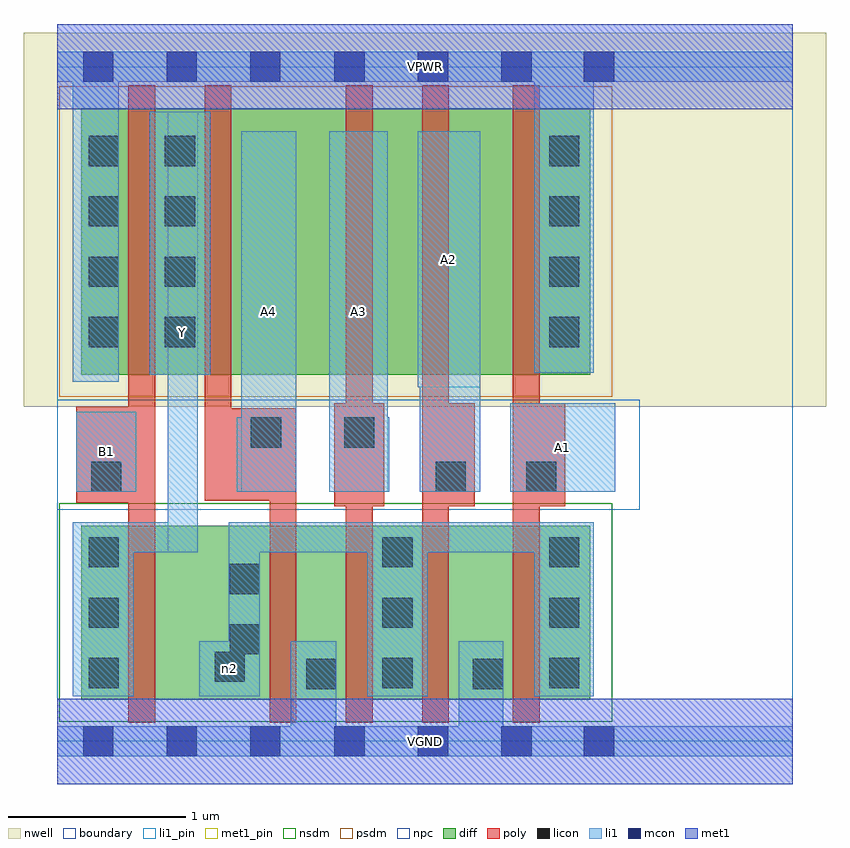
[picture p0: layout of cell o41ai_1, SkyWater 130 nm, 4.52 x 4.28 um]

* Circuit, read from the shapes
.subckt o41ai_1 A1 A2 A3 A4 B1 VGND VPWR Y n2
XM1 n2 B1 Y VSUBS sky130_fd_pr__nfet_01v8 w=0.98 l=0.15
XM2 VGND A4 n2 VSUBS sky130_fd_pr__nfet_01v8 w=0.98 l=0.15
XM3 n2 A3 VGND VSUBS sky130_fd_pr__nfet_01v8 w=0.98 l=0.15
XM4 VGND A2 n2 VSUBS sky130_fd_pr__nfet_01v8 w=0.98 l=0.15
XM5 n2 A1 VGND VSUBS sky130_fd_pr__nfet_01v8 w=0.98 l=0.15
XM6 Y B1 VPWR n1 sky130_fd_pr__pfet_01v8 w=1.5 l=0.15
XM7 n3 A4 Y n1 sky130_fd_pr__pfet_01v8 w=1.5 l=0.15
XM8 n4 A3 n3 n1 sky130_fd_pr__pfet_01v8 w=1.5 l=0.15
XM9 n5 A2 n4 n1 sky130_fd_pr__pfet_01v8 w=1.5 l=0.15
XM10 VPWR A1 n5 n1 sky130_fd_pr__pfet_01v8 w=1.5 l=0.15
.ends

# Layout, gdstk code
import gdstk
lib = gdstk.Library(unit=1e-6, precision=1e-09)
def R(c, l, rs):  # rectangles x0, y0, x1, y1
    for r in rs: c.add(gdstk.rectangle(r[:2], r[2:], *l))
def A(c, l, x, y, w, h, nx, ny, dx, dy):  # array of equal rectangles
    R(c, l, [(x+i*dx, y+j*dy, x+i*dx+w, y+j*dy+h) for i in range(nx) for j in range(ny)])
nwell = (64, 20)
diff = (65, 20)
poly = (66, 20)
licon = (66, 44)
li1_pin = (67, 16)
li1 = (67, 20)
mcon = (67, 44)
met1_pin = (68, 16)
met1 = (68, 20)
nsdm = (93, 44)
psdm = (94, 20)
npc = (95, 20)
boundary = (235, 4)

o41ai_1 = lib.new_cell('o41ai_1')
R(o41ai_1, nwell, [(-0.19,1.885,4.33,3.99), (0,1.885,4.14,3.99)])
R(o41ai_1, diff, [(0.135,0.235,3,1.215), (0.135,2.065,3,3.565)])
R(o41ai_1, poly, [(0.4,0.105,0.55,3.695), (1.195,0.105,1.345,1.875), (1.625,0.105,1.775,3.695), (2.055,0.105,2.205,3.695), (2.565,0.105,2.715,3.695), (1.56,1.325,1.84,1.905), (2.055,1.325,2.35,1.905), (2.565,1.325,2.86,1.905), (0.105,1.345,0.55,1.885), (0.83,1.355,0.98,3.695), (0.83,1.355,1.345,1.875)])
A(o41ai_1, licon, 0.175, 0.3, 0.17, 0.17, 1, 3, 0, 0.34)
A(o41ai_1, licon, 1.83, 0.3, 0.17, 0.17, 1, 3, 0, 0.34)
A(o41ai_1, licon, 2.77, 0.3, 0.17, 0.17, 1, 3, 0, 0.34)
A(o41ai_1, licon, 0.175, 2.22, 0.17, 0.17, 1, 4, 0, 0.34)
A(o41ai_1, licon, 0.605, 2.22, 0.17, 0.17, 1, 4, 0, 0.34)
A(o41ai_1, licon, 2.77, 2.22, 0.17, 0.17, 1, 4, 0, 0.34)
R(o41ai_1, licon, [(1.4,0.295,1.57,0.465), (2.34,0.295,2.51,0.465), (0.885,0.335,1.055,0.505), (0.97,0.49,1.14,0.66), (0.97,0.83,1.14,1), (0.19,1.405,0.36,1.575), (2.13,1.405,2.3,1.575), (2.64,1.405,2.81,1.575), (1.09,1.655,1.26,1.825), (1.615,1.655,1.785,1.825)])
R(o41ai_1, li1_pin, [(0.62,1.065,0.79,3.545), (0.105,1.405,0.445,1.855), (1.035,1.405,1.345,3.435), (1.53,1.405,1.86,3.435), (2.55,1.405,3.14,1.905), (2.03,1.995,2.38,3.435)])
R(o41ai_1, li1, [(0,-0.085,4.14,0.085), (1.315,-0.085,1.57,0.565), (2.26,-0.085,2.51,0.565), (0.085,0.255,0.43,1.235), (0.8,0.255,1.14,0.565), (0.965,0.255,1.14,1.235), (1.745,0.255,2.085,1.235), (2.685,0.255,3.02,1.235), (0.085,1.065,0.79,1.235), (0.62,1.065,0.79,3.545), (0.965,1.065,3.02,1.235), (0.105,1.405,0.445,1.855), (1.01,1.405,1.345,1.825), (1.035,1.405,1.345,3.435), (1.53,1.405,1.86,3.435), (1.53,1.405,1.87,1.825), (2.04,1.405,2.38,3.435), (2.55,1.405,3.14,1.905), (2.03,1.995,2.38,3.435), (0.085,2.025,0.345,3.885), (0.52,2.065,0.86,3.545), (2.685,2.075,3.02,3.885), (0,3.715,4.14,3.885)])
A(o41ai_1, mcon, 0.145, -0.085, 0.17, 0.17, 3, 2, 0.47, 3.8)
A(o41ai_1, mcon, 1.56, -0.085, 0.17, 0.17, 3, 2, 0.47, 3.8)
R(o41ai_1, mcon, [(2.965,-0.085,3.135,0.085), (2.965,3.715,3.135,3.885)])
R(o41ai_1, met1_pin, [(0,-0.24,4.14,0.24), (0,3.56,4.14,4.04)])
R(o41ai_1, met1, [(0,-0.24,4.14,0.24), (0,3.56,4.14,4.04)])
R(o41ai_1, nsdm, [(0.01,0.11,3.125,1.34)])
R(o41ai_1, psdm, [(0.01,1.94,3.125,3.69)])
R(o41ai_1, npc, [(0,1.305,3.28,1.925)])
R(o41ai_1, boundary, [(0,0,4.14,3.8)])
o41ai_1.add(gdstk.Label('A1', (2.845,1.655), layer=67, texttype=5))
o41ai_1.add(gdstk.Label('A2', (2.205,2.715), layer=67, texttype=5))
o41ai_1.add(gdstk.Label('A3', (1.695,2.42), layer=67, texttype=5))
o41ai_1.add(gdstk.Label('A4', (1.19,2.42), layer=67, texttype=5))
o41ai_1.add(gdstk.Label('B1', (0.275,1.63), layer=67, texttype=5))
o41ai_1.add(gdstk.Label('Y', (0.705,2.305), layer=67, texttype=5))
o41ai_1.add(gdstk.Label('n2', (0.97,0.41), layer=67, texttype=5))
o41ai_1.add(gdstk.Label('VPWR', (2.07,3.8), layer=68, texttype=5))
o41ai_1.add(gdstk.Label('VGND', (2.07,0), layer=68, texttype=5))
o41ai_1.add(gdstk.Label('A1', (2.845,1.655), layer=67, texttype=16))
o41ai_1.add(gdstk.Label('A2', (2.205,2.715), layer=67, texttype=16))
o41ai_1.add(gdstk.Label('A3', (1.695,2.42), layer=67, texttype=16))
o41ai_1.add(gdstk.Label('A4', (1.19,2.42), layer=67, texttype=16))
o41ai_1.add(gdstk.Label('B1', (0.275,1.63), layer=67, texttype=16))
o41ai_1.add(gdstk.Label('Y', (0.705,2.305), layer=67, texttype=16))
o41ai_1.add(gdstk.Label('VPWR', (2.07,3.8), layer=68, texttype=16))
o41ai_1.add(gdstk.Label('VGND', (2.07,0), layer=68, texttype=16))

lib.write_gds('o41ai_1.gds')
